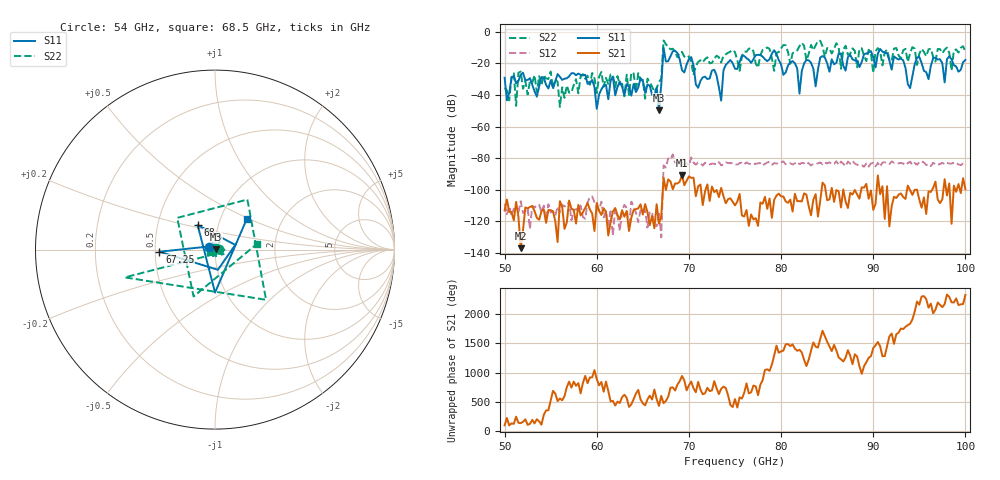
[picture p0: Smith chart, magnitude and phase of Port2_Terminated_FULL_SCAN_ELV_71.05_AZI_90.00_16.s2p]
! 11/25/2026 1:46:02 PM
! C:\ANRITSUVNA\TEMP\TEMP.S2P
! CHANNEL.1
! TR.MEASUREMENT
! RAW.DATA
# HZ S RI R 50.0
! FREQ.HZ  S11RE  S11IM  S21RE  S21IM  S12RE  S12IM  S22RE  S22IM
!; PortSelection: Port_12
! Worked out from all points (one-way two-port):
!   201 points, 50 GHz to 100 GHz, reference 50 ohm
!   highest |S21| = -90.61 dB at 69.25 GHz (marker M1); lowest = -137.0 dB at 51.75 GHz (marker M2)
!   lowest |S11| = -49.7 dB at 66.75 GHz (marker M3), VSWR 1.01, Z = 50.3 + j0.0705 ohm
!   |S11| at or under -10 dB: start of sweep to end of sweep
!   |S22| runs from -47.5 to -5.6 dB; largest |S21 - S12| = 0.00012
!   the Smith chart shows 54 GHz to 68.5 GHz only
!   S11 on the Smith chart (normalised r, x): 54 GHz: 0.93, +0.03; 67.25 GHz: 0.53, -0.01; 68 GHz: 0.80, +0.22; 68.5 GHz: 1.33, +0.49
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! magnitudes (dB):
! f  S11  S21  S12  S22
! 50 GHz  -29.1  -113.1  -108.8  -35.6
! 51 GHz  -27.9  -119.3  -112.0  -26.4
! 51.25 GHz  -32.6  -107.6  -112.8  -47.0
! 51.75 GHz  -27.1  -137.0  -107.2  -25.3
! 54 GHz  -28.7  -113.5  -114.0  -33.8
! 56 GHz  -28.6  -107.1  -114.2  -47.5
! 58.5 GHz  -27.7  -114.1  -117.1  -26.9
! 60 GHz  -48.8  -108.3  -111.2  -38.9
! 61.75 GHz  -28.4  -113.7  -128.9  -27.6
! 66.75 GHz  -49.7  -121.4  -113.9  -31.9
! 67.25 GHz  -10.2  -92.3  -84.5  -5.6
! 68 GHz  -15.5  -94.6  -80.8  -11.2
! 68.5 GHz  -12.1  -96.0  -82.8  -12.6
! 69.25 GHz  -24.4  -90.6  -82.6  -12.8
! 72.75 GHz  -24.1  -101.4  -83.5  -17.1
! 73.5 GHz  -43.6  -98.8  -84.5  -19.5
! 75 GHz  -23.5  -109.8  -83.8  -13.0
! 83.5 GHz  -23.4  -106.2  -83.6  -11.7
! 91.75 GHz  -18.2  -123.1  -83.7  -17.5
! 94 GHz  -35.7  -100.3  -82.2  -13.6
! 94.75 GHz  -16.5  -99.9  -84.2  -21.1
! 100 GHz  -17.9  -99.6  -84.3  -12.8
